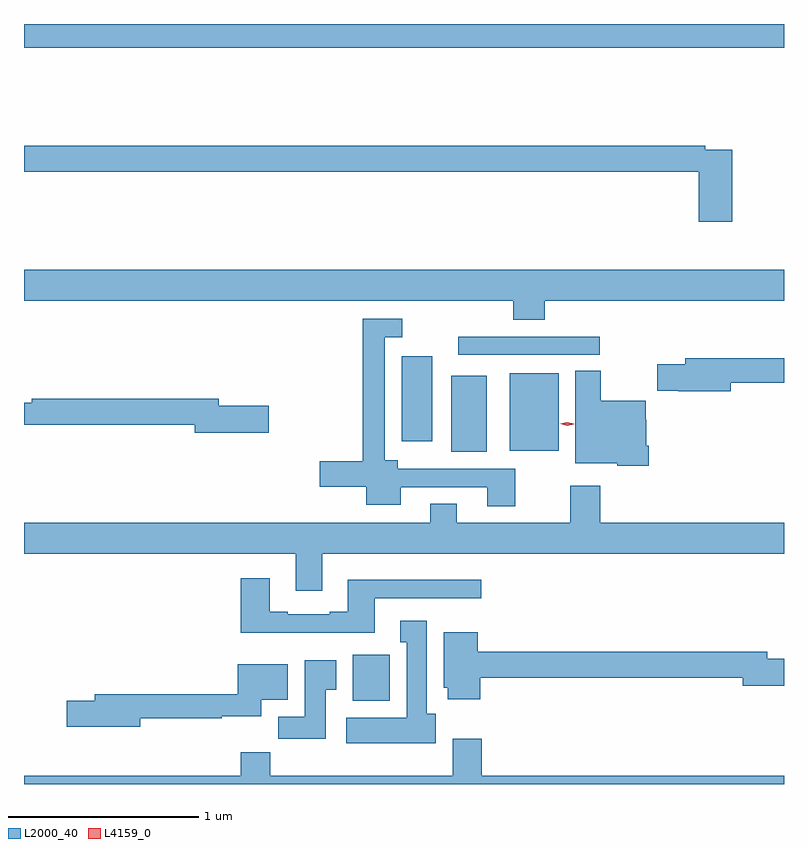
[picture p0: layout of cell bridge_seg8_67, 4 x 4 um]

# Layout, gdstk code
import gdstk
lib = gdstk.Library(unit=1e-6, precision=1e-09)
def R(c, l, rs):  # rectangles x0, y0, x1, y1
    for r in rs: c.add(gdstk.rectangle(r[:2], r[2:], *l))
def P(c, l, *ps):  # polygons
    for p in ps: c.add(gdstk.Polygon(p, *l))
L2000_40 = (2000, 40)
L4159_0 = (4159, 0)

bridge_seg8_67 = lib.new_cell('bridge_seg8_67')
R(bridge_seg8_67, L2000_40, [(948.059,1121.054,948.256,1121.296), (948.578,1122.365,948.766,1122.766), (948.887,1122.371,949.144,1122.778), (948.317,1122.42,948.478,1122.868), (948.615,1122.876,949.36,1122.972), (946.33,1124.492,950.33,1124.617)])
P(bridge_seg8_67, L2000_40, [(950.058,1123.956),(949.916,1123.956),(949.916,1123.976),(946.33,1123.976),(946.33,1123.84),(949.88,1123.84),(949.88,1123.575),(950.058,1123.575)],
  [(949.07,1123.16),(950.33,1123.16),(950.33,1123.324),(946.33,1123.324),(946.33,1123.16),(948.905,1123.16),(948.905,1123.061),(949.07,1123.061)],
  [(948.915,1122.276),(948.298,1122.276),(948.298,1122.322),(948.228,1122.322),(948.228,1122.969),(948.322,1122.969),(948.322,1123.065),(948.112,1123.065),(948.112,1122.317),(947.886,1122.317),(947.886,1122.182),(948.131,1122.182),(948.131,1122.086),(948.313,1122.086),(948.313,1122.18),(948.767,1122.18),(948.767,1122.078),(948.915,1122.078)],
  [(950.05,1122.73),(950.33,1122.73),(950.33,1122.859),(949.811,1122.859),(949.811,1122.825),(949.663,1122.825),(949.663,1122.688),(949.774,1122.688),(949.774,1122.683),(950.05,1122.683)],
  [(949.619,1122.397),(949.606,1122.397),(949.606,1122.533),(949.602,1122.533),(949.602,1122.634),(949.366,1122.634),(949.366,1122.791),(949.232,1122.791),(949.232,1122.305),(949.452,1122.305),(949.452,1122.293),(949.619,1122.293)],
  [(947.617,1122.608),(947.356,1122.608),(947.356,1122.644),(946.372,1122.644),(946.372,1122.624),(946.33,1122.624),(946.33,1122.508),(947.228,1122.508),(947.228,1122.466),(947.617,1122.466)],
  [(950.33,1121.992),(949.364,1121.992),(949.364,1122.187),(949.204,1122.187),(949.204,1121.992),(948.607,1121.992),(948.607,1122.091),(948.467,1122.091),(948.467,1121.992),(946.33,1121.992),(946.33,1121.828),(947.759,1121.828),(947.759,1121.634),(947.899,1121.634),(947.899,1121.828),(950.33,1121.828)],
  [(948.175,1121.595),(948.736,1121.595),(948.736,1121.692),(948.035,1121.692),(948.035,1121.524),(947.939,1121.524),(947.939,1121.511),(947.719,1121.511),(947.719,1121.524),(947.623,1121.524),(947.623,1121.701),(947.471,1121.701),(947.471,1121.414),(948.175,1121.414)],
  [(948.496,1120.986),(948.451,1120.986),(948.451,1121.476),(948.311,1121.476),(948.311,1121.363),(948.344,1121.363),(948.344,1120.966),(948.027,1120.966),(948.027,1120.832),(948.496,1120.832)],
  [(948.731,1121.176),(950.114,1121.176),(950.114,1121.134),(950.33,1121.134),(950.33,1121.276),(950.242,1121.276),(950.242,1121.312),(948.718,1121.312),(948.718,1121.416),(948.539,1121.416),(948.539,1121.124),(948.56,1121.124),(948.56,1121.064),(948.731,1121.064)],
  [(947.917,1121.113),(947.974,1121.113),(947.974,1121.269),(947.807,1121.269),(947.807,1120.972),(947.668,1120.972),(947.668,1120.854),(947.917,1120.854)],
  [(946.942,1120.962),(947.372,1120.962),(947.372,1120.973),(947.578,1120.973),(947.578,1121.06),(947.719,1121.06),(947.719,1121.248),(947.456,1121.248),(947.456,1121.09),(946.703,1121.09),(946.703,1121.054),(946.554,1121.054),(946.554,1120.919),(946.942,1120.919)],
  [(950.33,1120.66),(948.74,1120.66),(948.74,1120.855),(948.587,1120.855),(948.587,1120.66),(947.627,1120.66),(947.627,1120.784),(947.471,1120.784),(947.471,1120.66),(946.33,1120.66),(946.33,1120.617),(950.33,1120.617)])
P(bridge_seg8_67, L4159_0, [(949.188,1122.502),(949.152,1122.512),(949.151,1122.512),(949.152,1122.512),(949.188,1122.522),(949.224,1122.512),(949.224,1122.512),(949.224,1122.511)])

lib.write_gds('bridge_seg8_67.gds')
